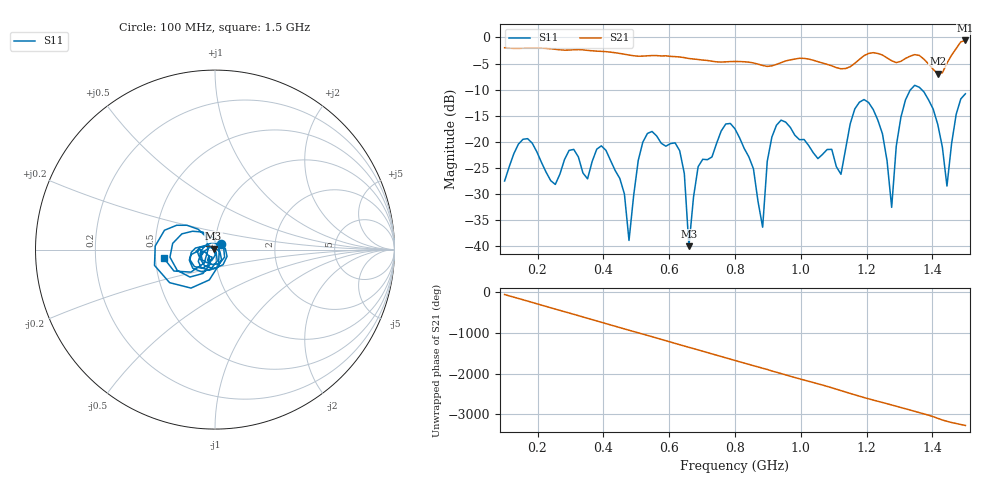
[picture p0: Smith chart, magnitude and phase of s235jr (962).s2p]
! NanoVNA-App
! Date: 2025-09-25 15:11:39
! Start: 100MHz Stop: 1,5GHz Points: 101
! S-Parameter data: F S11 S21 S12 S22
# Hz S RI R 50
!  Frequency  S11_Real  S11_Imag  S21_Real  S21_Imag  S12_Real  S12_Imag  S22_Real  S22_Imag
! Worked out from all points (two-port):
!   101 points, 100 MHz to 1.5 GHz, reference 50 ohm
!   highest |S21| = -0.57 dB at 1.5 GHz (marker M1); lowest = -6.9 dB at 1.416 GHz (marker M2)
!   |S21| within 3 dB of the highest: start of sweep to 503.6 MHz; 518.9 MHz to 597.6 MHz (78.66 MHz wide, 14.1 % of centre)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
!   lowest |S11| = -40.0 dB at 660 MHz (marker M3), VSWR 1.02, Z = 49.2 + j0.576 ohm
!   |S11| at or under -10 dB: start of sweep to 1.333 GHz; 1.367 GHz to end of sweep
!   S12 and S22 are empty: the file has one direction only
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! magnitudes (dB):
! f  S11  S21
! 100 MHz  -27.5  -2.0
! 170 MHz  -19.4  -2.0
! 338 MHz  -25.9  -2.4
! 408 MHz  -21.6  -2.7
! 478 MHz  -38.9  -3.4
! 520 MHz  -20.0  -3.6
! 576 MHz  -20.3  -3.5
! 632 MHz  -21.7  -3.7
! 660 MHz  -40.0  -4.0
! 688 MHz  -24.7  -4.2
! 800 MHz  -17.5  -4.6
! 884 MHz  -36.3  -5.4
! 926 MHz  -16.8  -5.2
! 1.038 GHz  -22.1  -4.4
! 1.122 GHz  -26.2  -6.0
! 1.206 GHz  -12.5  -3.1
! 1.276 GHz  -32.5  -4.5
! 1.29 GHz  -20.8  -4.8
! 1.332 GHz  -10.1  -3.6
! 1.416 GHz  -16.6  -6.9
! 1.444 GHz  -28.5  -4.9
! 1.5 GHz  -10.8  -0.6
